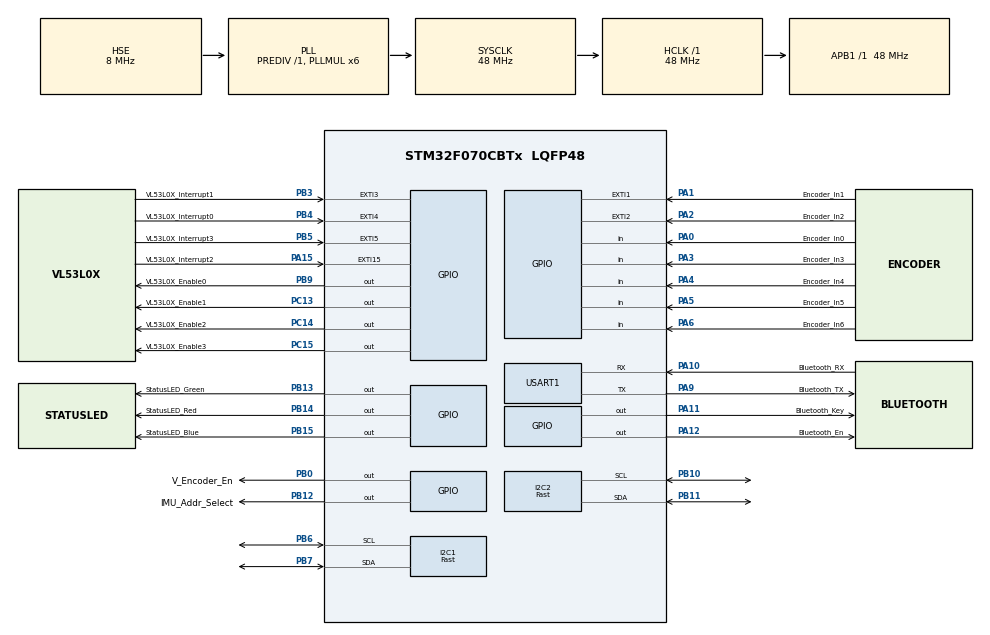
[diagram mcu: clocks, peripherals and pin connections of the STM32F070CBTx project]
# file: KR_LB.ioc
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Dma.Request0=USART1_RX
Dma.Request1=USART1_TX
Dma.USART1_RX.0.Direction=DMA_PERIPH_TO_MEMORY
Dma.USART1_RX.0.Instance=DMA1_Channel3
Dma.USART1_RX.0.MemDataAlignment=DMA_MDATAALIGN_BYTE
Dma.USART1_RX.0.MemInc=DMA_MINC_ENABLE
Dma.USART1_RX.0.Mode=DMA_NORMAL
Dma.USART1_RX.0.PeriphDataAlignment=DMA_PDATAALIGN_BYTE
Dma.USART1_RX.0.PeriphInc=DMA_PINC_DISABLE
Dma.USART1_RX.0.Priority=DMA_PRIORITY_HIGH
Dma.USART1_TX.1.Direction=DMA_MEMORY_TO_PERIPH
Dma.USART1_TX.1.Instance=DMA1_Channel2
Dma.USART1_TX.1.MemDataAlignment=DMA_MDATAALIGN_BYTE
Dma.USART1_TX.1.MemInc=DMA_MINC_ENABLE
Dma.USART1_TX.1.Mode=DMA_NORMAL
Dma.USART1_TX.1.PeriphDataAlignment=DMA_PDATAALIGN_BYTE
Dma.USART1_TX.1.PeriphInc=DMA_PINC_DISABLE
Dma.USART1_TX.1.Priority=DMA_PRIORITY_VERY_HIGH
I2C1.Analog_Filter=I2C_ANALOGFILTER_DISABLE
I2C1.I2C_Speed_Mode=I2C_Fast
I2C1.Timing=0x0000020C
I2C2.I2C_Speed_Mode=I2C_Fast
I2C2.Timing=0x2010091A
Mcu.Family=STM32F0
Mcu.Name=STM32F070CBTx
Mcu.Package=LQFP48
NVIC.DMA1_Channel2_3_IRQn=true\:0\:0\:false\:false\:true\:false\:true
NVIC.EXTI0_1_IRQn=true\:0\:0\:false\:true\:true\:1\:true\:true
NVIC.EXTI2_3_IRQn=true\:0\:0\:false\:true\:true\:2\:true\:true
NVIC.EXTI4_15_IRQn=true\:0\:0\:false\:false\:true\:true\:true
NVIC.I2C1_IRQn=true\:0\:0\:false\:false\:true\:true\:true
NVIC.I2C2_IRQn=true\:0\:0\:false\:false\:true\:true\:true
NVIC.TIM6_IRQn=true\:0\:0\:false\:false\:true\:true\:true
NVIC.USART1_IRQn=true\:0\:0\:false\:false\:true\:true\:true
PA0.GPIO_Label=Encoder_In0
PA0.Signal=GPIO_Input
PA1.GPIO_Label=Encoder_In1
PA1.Signal=GPXTI1
PA10.GPIO_Label=Bluetooth_RX
PA10.Mode=Asynchronous
PA10.Signal=USART1_RX
PA11.GPIO_Label=Bluetooth_Key
PA11.Signal=GPIO_Output
PA12.GPIO_Label=Bluetooth_En
PA12.Signal=GPIO_Output
PA13.Mode=Serial_Wire
PA13.Signal=SYS_SWDIO
PA14.Mode=Serial_Wire
PA14.Signal=SYS_SWCLK
PA15.GPIO_Label=VL53L0X_Interrupt2
PA15.Signal=GPXTI15
PA2.GPIO_Label=Encoder_In2
PA2.Signal=GPXTI2
PA3.GPIO_Label=Encoder_In3
PA3.Signal=GPIO_Input
PA4.GPIO_Label=Encoder_In4
PA4.Signal=GPIO_Input
PA5.GPIO_Label=Encoder_In5
PA5.Signal=GPIO_Input
PA6.GPIO_Label=Encoder_In6
PA6.Signal=GPIO_Input
PA9.GPIO_Label=Bluetooth_TX
PA9.Mode=Asynchronous
PA9.Signal=USART1_TX
PB0.GPIO_Label=V_Encoder_En
PB0.Signal=GPIO_Output
PB10.Mode=I2C
PB10.Signal=I2C2_SCL
PB11.Mode=I2C
PB11.Signal=I2C2_SDA
PB12.GPIO_Label=IMU_Addr_Select
PB12.Signal=GPIO_Output
PB13.GPIO_Label=StatusLED_Green
PB13.GPIO_Speed=GPIO_SPEED_FREQ_HIGH
PB13.Signal=GPIO_Output
PB14.GPIO_Label=StatusLED_Red
PB14.Signal=GPIO_Output
PB15.GPIO_Label=StatusLED_Blue
PB15.Signal=GPIO_Output
PB3.GPIO_Label=VL53L0X_Interrupt1
PB3.Signal=GPXTI3
PB4.GPIO_Label=VL53L0X_Interrupt0
PB4.Signal=GPXTI4
PB5.GPIO_Label=VL53L0X_Interrupt3
PB5.Signal=GPXTI5
PB6.GPIO_PuPdOD=GPIO_NOPULL
PB6.Mode=I2C
PB6.Signal=I2C1_SCL
PB7.GPIO_PuPdOD=GPIO_NOPULL
PB7.Mode=I2C
PB7.Signal=I2C1_SDA
PB9.GPIO_Label=VL53L0X_Enable0
PB9.Signal=GPIO_Output
PC13.GPIO_Label=VL53L0X_Enable1
PC13.Signal=GPIO_Output
PC14-OSC32_IN.GPIO_Label=VL53L0X_Enable2
PC14-OSC32_IN.Signal=GPIO_Output
PC15-OSC32_OUT.GPIO_Label=VL53L0X_Enable3
PC15-OSC32_OUT.Signal=GPIO_Output
PF0-OSC_IN.Mode=HSE-External-Oscillator
PF0-OSC_IN.Signal=RCC_OSC_IN
PF1-OSC_OUT.Mode=HSE-External-Oscillator
PF1-OSC_OUT.Signal=RCC_OSC_OUT
ProjectManager.HeapSize=0x200
ProjectManager.StackSize=0x400
ProjectManager.TargetToolchain=TrueSTUDIO
RCC.AHBFreq_Value=48000000
RCC.APB1Freq_Value=48000000
RCC.APB1TimFreq_Value=48000000
RCC.HCLKFreq_Value=48000000
RCC.PLLMUL=RCC_PLL_MUL6
RCC.PLLSourceVirtual=RCC_PLLSOURCE_HSE
RCC.SYSCLKFreq_VALUE=48000000
RCC.SYSCLKSource=RCC_SYSCLKSOURCE_PLLCLK
TIM6.Period=1000
TIM6.Prescaler=48
TIM7.Period=65000
TIM7.Prescaler=48000
USART1.VirtualMode-Asynchronous=VM_ASYNC
VP_TIM6_VS_ClockSourceINT.Mode=Enable_Timer
VP_TIM7_VS_ClockSourceINT.Mode=Enable_Timer
board=KR_MB

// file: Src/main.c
/* USER CODE BEGIN Header */
/**
  ******************************************************************************
  * @file           : main.c
  * @brief          : Main program body
  ******************************************************************************
  ** This notice applies to any and all portions of this file
  * that are not between comment pairs USER CODE BEGIN and
  * USER CODE END. Other portions of this file, whether
  * inserted by the user or by software development tools
  * are owned by their respective copyright owners.
  *
  * COPYRIGHT(c) 2019 STMicroelectronics
  *
  * Redistribution and use in source and binary forms, with or without modification,
  * are permitted provided that the following conditions are met:
  *   1. Redistributions of source code must retain the above copyright notice,
  *      this list of conditions and the following disclaimer.
  *   2. Redistributions in binary form must reproduce the above copyright notice,
  *      this list of conditions and the following disclaimer in the documentation
  *      and/or other materials provided with the distribution.
  *   3. Neither the name of STMicroelectronics nor the names of its contributors
  *      may be used to endorse or promote products derived from this software
  *      without specific prior written permission.
  *
  * THIS SOFTWARE IS PROVIDED BY THE COPYRIGHT HOLDERS AND CONTRIBUTORS "AS IS"
  * AND ANY EXPRESS OR IMPLIED WARRANTIES, INCLUDING, BUT NOT LIMITED TO, THE
  * IMPLIED WARRANTIES OF MERCHANTABILITY AND FITNESS FOR A PARTICULAR PURPOSE ARE
  * DISCLAIMED. IN NO EVENT SHALL THE COPYRIGHT HOLDER OR CONTRIBUTORS BE LIABLE
  * FOR ANY DIRECT, INDIRECT, INCIDENTAL, SPECIAL, EXEMPLARY, OR CONSEQUENTIAL
  * DAMAGES (INCLUDING, BUT NOT LIMITED TO, PROCUREMENT OF SUBSTITUTE GOODS OR
  * SERVICES; LOSS OF USE, DATA, OR PROFITS; OR BUSINESS INTERRUPTION) HOWEVER
  * CAUSED AND ON ANY THEORY OF LIABILITY, WHETHER IN CONTRACT, STRICT LIABILITY,
  * OR TORT (INCLUDING NEGLIGENCE OR OTHERWISE) ARISING IN ANY WAY OUT OF THE USE
  * OF THIS SOFTWARE, EVEN IF ADVISED OF THE POSSIBILITY OF SUCH DAMAGE.
  *
  ******************************************************************************
  */
/* USER CODE END Header */

#include "main.h"

/* USER CODE BEGIN Includes */

#include "LidarLib.h"
#include "serial.h"
#include "vl53l0x_api.h"
#include "threads.h"
#include "kernel.h"

/* USER CODE END Includes */

I2C_HandleTypeDef hi2c1;
I2C_HandleTypeDef hi2c2;

TIM_HandleTypeDef htim6;
TIM_HandleTypeDef htim7;

UART_HandleTypeDef huart1;
DMA_HandleTypeDef hdma_usart1_rx;
DMA_HandleTypeDef hdma_usart1_tx;

/* USER CODE BEGIN PV */

uint16_t counter = 0;
VL53L0X_RangingMeasurementData_t measuredData;
VL53L0X_Error ToF_status = VL53L0X_ERROR_NONE;

extern uint32_t absolutePosition_GrayCoded;
extern uint8_t absolutePosition_BinaryCoded;
extern bool bluetoothTransmissionSuccessful;
VL53L0X_Dev_t ToF_sensor;
uint8_t dataStatus = 0;

/* USER CODE END PV */

void SystemClock_Config(void);
static void MX_GPIO_Init(void);
static void MX_DMA_Init(void);
static void MX_I2C1_Init(void);
static void MX_I2C2_Init(void);
static void MX_USART1_UART_Init(void);
static void MX_TIM6_Init(void);
static void MX_TIM7_Init(void);
static void MX_NVIC_Init(void);

int main(void)
{

  /* MCU Configuration--------------------------------------------------------*/

  /* Reset of all peripherals, Initializes the Flash interface and the Systick. */
  HAL_Init();

  /* Configure the system clock */
  SystemClock_Config();

  /* Initialize all configured peripherals */
  MX_GPIO_Init();
  MX_DMA_Init();
  MX_I2C1_Init();
  MX_I2C2_Init();
  MX_USART1_UART_Init();
  MX_TIM6_Init();
  MX_TIM7_Init();

  /* Initialize interrupts */
  MX_NVIC_Init();
  /* USER CODE BEGIN 2 */

  initKernel();
  startKernel(); // this is an infinite loop

	HAL_TIM_Base_Start(&htim7); // 1ms counter without interrupt
	configureBluetooth(&huart1, 115200, false); // bluetooth module settings

	setV_Bluetooth(VOLTAGE_ON);
	setV_Encoder(VOLTAGE_ON); //just for testing purpose

  /* USER CODE END 2 */

  /* Infinite loop */
  /* USER CODE BEGIN WHILE */

	uint8_t prevPos_u = 0;

  while (1)
  {
	//readAbsolutePosition_byPolling();
	//convertGrayCode2BinaryCode();
	if(prevPos_u != absolutePosition_BinaryCoded)
	{
		prevPos_u = absolutePosition_BinaryCoded;
		//send_uint(absolutePosition_GrayCoded);
		//send_SPACE(1);
		send_uint(absolutePosition_BinaryCoded);
		send_CRLF();
	}

    /* USER CODE END WHILE */

  }
}

void SystemClock_Config(void)
{
  RCC_OscInitTypeDef RCC_OscInitStruct = {0};
  RCC_ClkInitTypeDef RCC_ClkInitStruct = {0};
  RCC_PeriphCLKInitTypeDef PeriphClkInit = {0};

  /** Initializes the CPU, AHB and APB busses clocks
  */
  RCC_OscInitStruct.OscillatorType = RCC_OSCILLATORTYPE_HSI|RCC_OSCILLATORTYPE_HSE;
  RCC_OscInitStruct.HSEState = RCC_HSE_ON;
  RCC_OscInitStruct.HSIState = RCC_HSI_ON;
  RCC_OscInitStruct.HSICalibrationValue = RCC_HSICALIBRATION_DEFAULT;
  RCC_OscInitStruct.PLL.PLLState = RCC_PLL_ON;
  RCC_OscInitStruct.PLL.PLLSource = RCC_PLLSOURCE_HSE;
  RCC_OscInitStruct.PLL.PLLMUL = RCC_PLL_MUL6;
  RCC_OscInitStruct.PLL.PREDIV = RCC_PREDIV_DIV1;
  if (HAL_RCC_OscConfig(&RCC_OscInitStruct) != HAL_OK)
  {
    Error_Handler();
  }
  /** Initializes the CPU, AHB and APB busses clocks
  */
  RCC_ClkInitStruct.ClockType = RCC_CLOCKTYPE_HCLK|RCC_CLOCKTYPE_SYSCLK
                              |RCC_CLOCKTYPE_PCLK1;
  RCC_ClkInitStruct.SYSCLKSource = RCC_SYSCLKSOURCE_PLLCLK;
  RCC_ClkInitStruct.AHBCLKDivider = RCC_SYSCLK_DIV1;
  RCC_ClkInitStruct.APB1CLKDivider = RCC_HCLK_DIV1;

  if (HAL_RCC_ClockConfig(&RCC_ClkInitStruct, FLASH_LATENCY_1) != HAL_OK)
  {
    Error_Handler();
  }
  PeriphClkInit.PeriphClockSelection = RCC_PERIPHCLK_USART1|RCC_PERIPHCLK_I2C1;
  PeriphClkInit.Usart1ClockSelection = RCC_USART1CLKSOURCE_PCLK1;
  PeriphClkInit.I2c1ClockSelection = RCC_I2C1CLKSOURCE_HSI;
  if (HAL_RCCEx_PeriphCLKConfig(&PeriphClkInit) != HAL_OK)
  {
    Error_Handler();
  }
}

/**
  * @brief NVIC Configuration.
  * @retval None
  */
static void MX_NVIC_Init(void)
{
  /* EXTI0_1_IRQn interrupt configuration */
  HAL_NVIC_SetPriority(EXTI0_1_IRQn, 0, 0);
  HAL_NVIC_EnableIRQ(EXTI0_1_IRQn);
  /* EXTI2_3_IRQn interrupt configuration */
  HAL_NVIC_SetPriority(EXTI2_3_IRQn, 0, 0);
  HAL_NVIC_EnableIRQ(EXTI2_3_IRQn);
}

static void MX_I2C1_Init(void)
{

  hi2c1.Instance = I2C1;
  hi2c1.Init.Timing = 0x0000020C;
  hi2c1.Init.OwnAddress1 = 0;
  hi2c1.Init.AddressingMode = I2C_ADDRESSINGMODE_7BIT;
  hi2c1.Init.DualAddressMode = I2C_DUALADDRESS_DISABLE;
  hi2c1.Init.OwnAddress2 = 0;
  hi2c1.Init.OwnAddress2Masks = I2C_OA2_NOMASK;
  hi2c1.Init.GeneralCallMode = I2C_GENERALCALL_DISABLE;
  hi2c1.Init.NoStretchMode = I2C_NOSTRETCH_DISABLE;
  if (HAL_I2C_Init(&hi2c1) != HAL_OK)
  {
    Error_Handler();
  }
  /** Configure Analogue filter
  */
  if (HAL_I2CEx_ConfigAnalogFilter(&hi2c1, I2C_ANALOGFILTER_DISABLE) != HAL_OK)
  {
    Error_Handler();
  }
  /** Configure Digital filter
  */
  if (HAL_I2CEx_ConfigDigitalFilter(&hi2c1, 0) != HAL_OK)
  {
    Error_Handler();
  }

}

static void MX_I2C2_Init(void)
{

  hi2c2.Instance = I2C2;
  hi2c2.Init.Timing = 0x2010091A;
  hi2c2.Init.OwnAddress1 = 0;
  hi2c2.Init.AddressingMode = I2C_ADDRESSINGMODE_7BIT;
  hi2c2.Init.DualAddressMode = I2C_DUALADDRESS_DISABLE;
  hi2c2.Init.OwnAddress2 = 0;
  hi2c2.Init.OwnAddress2Masks = I2C_OA2_NOMASK;
  hi2c2.Init.GeneralCallMode = I2C_GENERALCALL_DISABLE;
  hi2c2.Init.NoStretchMode = I2C_NOSTRETCH_DISABLE;
  if (HAL_I2C_Init(&hi2c2) != HAL_OK)
  {
    Error_Handler();
  }
  /** Configure Analogue filter
  */
  if (HAL_I2CEx_ConfigAnalogFilter(&hi2c2, I2C_ANALOGFILTER_ENABLE) != HAL_OK)
  {
    Error_Handler();
  }
  /** Configure Digital filter
  */
  if (HAL_I2CEx_ConfigDigitalFilter(&hi2c2, 0) != HAL_OK)
  {
    Error_Handler();
  }

}

static void MX_TIM6_Init(void)
{

  htim6.Instance = TIM6;
  htim6.Init.Prescaler = 48;
  htim6.Init.CounterMode = TIM_COUNTERMODE_UP;
  htim6.Init.Period = 1000;
  htim6.Init.AutoReloadPreload = TIM_AUTORELOAD_PRELOAD_DISABLE;
  if (HAL_TIM_Base_Init(&htim6) != HAL_OK)
  {
    Error_Handler();
  }

}

static void MX_TIM7_Init(void)
{

  htim7.Instance = TIM7;
  htim7.Init.Prescaler = 48000;
  htim7.Init.CounterMode = TIM_COUNTERMODE_UP;
  htim7.Init.Period = 65000;
  htim7.Init.AutoReloadPreload = TIM_AUTORELOAD_PRELOAD_DISABLE;
  if (HAL_TIM_Base_Init(&htim7) != HAL_OK)
  {
    Error_Handler();
  }

}

static void MX_USART1_UART_Init(void)
{

  huart1.Instance = USART1;
  huart1.Init.BaudRate = 38400;
  huart1.Init.WordLength = UART_WORDLENGTH_8B;
  huart1.Init.StopBits = UART_STOPBITS_1;
  huart1.Init.Parity = UART_PARITY_NONE;
  huart1.Init.Mode = UART_MODE_TX_RX;
  huart1.Init.HwFlowCtl = UART_HWCONTROL_NONE;
  huart1.Init.OverSampling = UART_OVERSAMPLING_16;
  huart1.Init.OneBitSampling = UART_ONE_BIT_SAMPLE_DISABLE;
  huart1.AdvancedInit.AdvFeatureInit = UART_ADVFEATURE_NO_INIT;
  if (HAL_UART_Init(&huart1) != HAL_OK)
  {
    Error_Handler();
  }

}

static void MX_DMA_Init(void)
{
  /* DMA controller clock enable */
  __HAL_RCC_DMA1_CLK_ENABLE();

  /* DMA interrupt init */
  /* DMA1_Channel2_3_IRQn interrupt configuration */
  HAL_NVIC_SetPriority(DMA1_Channel2_3_IRQn, 0, 0);
  HAL_NVIC_EnableIRQ(DMA1_Channel2_3_IRQn);

}

static void MX_GPIO_Init(void)
{
  GPIO_InitTypeDef GPIO_InitStruct = {0};

  /* GPIO Ports Clock Enable */
  __HAL_RCC_GPIOC_CLK_ENABLE();
  __HAL_RCC_GPIOF_CLK_ENABLE();
  __HAL_RCC_GPIOA_CLK_ENABLE();
  __HAL_RCC_GPIOB_CLK_ENABLE();

  /*Configure GPIO pin Output Level */
  HAL_GPIO_WritePin(GPIOC, VL53L0X_Enable1_Pin|VL53L0X_Enable2_Pin|VL53L0X_Enable3_Pin, GPIO_PIN_RESET);

  /*Configure GPIO pin Output Level */
  HAL_GPIO_WritePin(GPIOB, V_Encoder_En_Pin|IMU_Addr_Select_Pin|StatusLED_Green_Pin|StatusLED_Red_Pin
                          |StatusLED_Blue_Pin|VL53L0X_Enable0_Pin, GPIO_PIN_RESET);

  /*Configure GPIO pin Output Level */
  HAL_GPIO_WritePin(GPIOA, Bluetooth_Key_Pin|Bluetooth_En_Pin, GPIO_PIN_RESET);

  /*Configure GPIO pins : VL53L0X_Enable1_Pin VL53L0X_Enable2_Pin VL53L0X_Enable3_Pin */
  GPIO_InitStruct.Pin = VL53L0X_Enable1_Pin|VL53L0X_Enable2_Pin|VL53L0X_Enable3_Pin;
  GPIO_InitStruct.Mode = GPIO_MODE_OUTPUT_PP;
  GPIO_InitStruct.Pull = GPIO_NOPULL;
  GPIO_InitStruct.Speed = GPIO_SPEED_FREQ_LOW;
  HAL_GPIO_Init(GPIOC, &GPIO_InitStruct);

  /*Configure GPIO pins : Encoder_In0_Pin Encoder_In3_Pin Encoder_In4_Pin Encoder_In5_Pin
                           Encoder_In6_Pin */
  GPIO_InitStruct.Pin = Encoder_In0_Pin|Encoder_In3_Pin|Encoder_In4_Pin|Encoder_In5_Pin
                          |Encoder_In6_Pin;
  GPIO_InitStruct.Mode = GPIO_MODE_INPUT;
  GPIO_InitStruct.Pull = GPIO_NOPULL;
  HAL_GPIO_Init(GPIOA, &GPIO_InitStruct);

  /*Configure GPIO pins : Encoder_In1_Pin Encoder_In2_Pin VL53L0X_Interrupt2_Pin */
  GPIO_InitStruct.Pin = Encoder_In1_Pin|Encoder_In2_Pin|VL53L0X_Interrupt2_Pin;
  GPIO_InitStruct.Mode = GPIO_MODE_IT_RISING;
  GPIO_InitStruct.Pull = GPIO_NOPULL;
  HAL_GPIO_Init(GPIOA, &GPIO_InitStruct);

  /*Configure GPIO pins : V_Encoder_En_Pin IMU_Addr_Select_Pin StatusLED_Red_Pin StatusLED_Blue_Pin
                           VL53L0X_Enable0_Pin */
  GPIO_InitStruct.Pin = V_Encoder_En_Pin|IMU_Addr_Select_Pin|StatusLED_Red_Pin|StatusLED_Blue_Pin
                          |VL53L0X_Enable0_Pin;
  GPIO_InitStruct.Mode = GPIO_MODE_OUTPUT_PP;
  GPIO_InitStruct.Pull = GPIO_NOPULL;
  GPIO_InitStruct.Speed = GPIO_SPEED_FREQ_LOW;
  HAL_GPIO_Init(GPIOB, &GPIO_InitStruct);

  /*Configure GPIO pin : StatusLED_Green_Pin */
  GPIO_InitStruct.Pin = StatusLED_Green_Pin;
  GPIO_InitStruct.Mode = GPIO_MODE_OUTPUT_PP;
  GPIO_InitStruct.Pull = GPIO_NOPULL;
  GPIO_InitStruct.Speed = GPIO_SPEED_FREQ_HIGH;
  HAL_GPIO_Init(StatusLED_Green_GPIO_Port, &GPIO_InitStruct);

  /*Configure GPIO pins : Bluetooth_Key_Pin Bluetooth_En_Pin */
  GPIO_InitStruct.Pin = Bluetooth_Key_Pin|Bluetooth_En_Pin;
  GPIO_InitStruct.Mode = GPIO_MODE_OUTPUT_PP;
  GPIO_InitStruct.Pull = GPIO_NOPULL;
  GPIO_InitStruct.Speed = GPIO_SPEED_FREQ_LOW;
  HAL_GPIO_Init(GPIOA, &GPIO_InitStruct);

  /*Configure GPIO pins : VL53L0X_Interrupt1_Pin VL53L0X_Interrupt0_Pin VL53L0X_Interrupt3_Pin */
  GPIO_InitStruct.Pin = VL53L0X_Interrupt1_Pin|VL53L0X_Interrupt0_Pin|VL53L0X_Interrupt3_Pin;
  GPIO_InitStruct.Mode = GPIO_MODE_IT_RISING;
  GPIO_InitStruct.Pull = GPIO_NOPULL;
  HAL_GPIO_Init(GPIOB, &GPIO_InitStruct);

  /* EXTI interrupt init*/
  HAL_NVIC_SetPriority(EXTI4_15_IRQn, 0, 0);
  HAL_NVIC_EnableIRQ(EXTI4_15_IRQn);

}

void Error_Handler(void)
{
}

/************************ (C) COPYRIGHT STMicroelectronics *****END OF FILE****/
